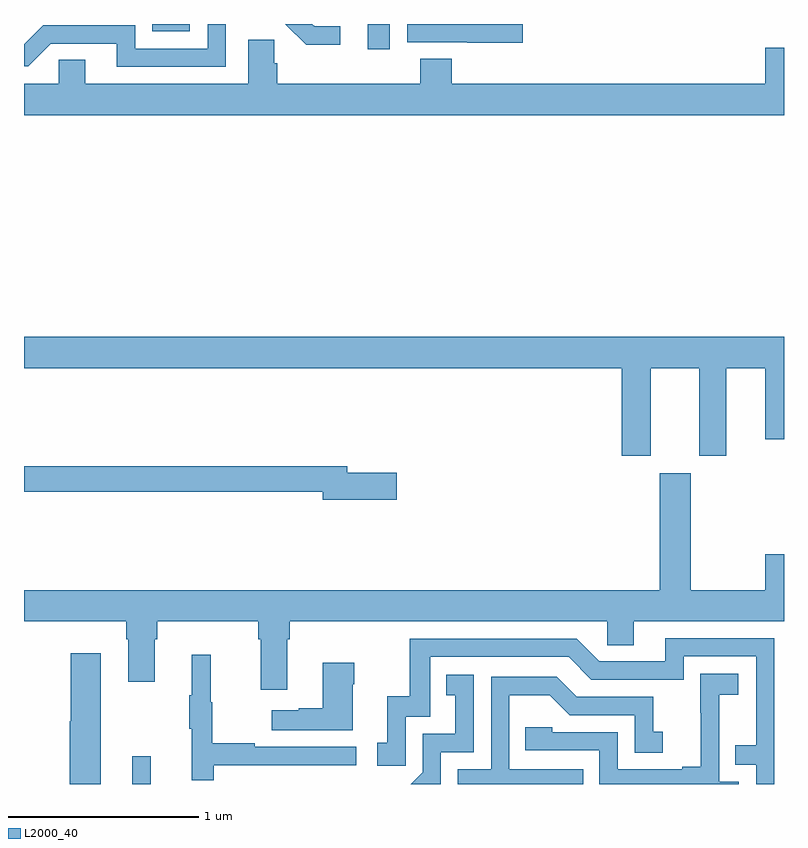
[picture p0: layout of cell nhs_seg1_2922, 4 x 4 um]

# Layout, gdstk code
import gdstk
lib = gdstk.Library(unit=1e-6, precision=1e-09)
def R(c, l, rs):  # rectangles x0, y0, x1, y1
    for r in rs: c.add(gdstk.rectangle(r[:2], r[2:], *l))
def P(c, l, *ps):  # polygons
    for p in ps: c.add(gdstk.Polygon(p, *l))
L2000_40 = (2000, 40)

nhs_seg1_2922 = lib.new_cell('nhs_seg1_2922')
R(nhs_seg1_2922, L2000_40, [(269.57,560.199,269.667,560.344), (270.809,564.066,270.924,564.199), (269.674,564.161,269.872,564.199)])
P(nhs_seg1_2922, L2000_40, [(270.063,564.199),(269.967,564.199),(269.967,564.069),(269.586,564.069),(269.586,564.192),(269.1,564.192),(269,564.092),(269,563.976),(269.022,563.976),(269.142,564.096),(269.489,564.096),(269.489,563.973),(270.063,563.973)],
  [(270.664,564.186),(270.529,564.186),(270.516,564.199),(270.374,564.199),(270.485,564.089),(270.664,564.089)],
  [(271.625,564.199),(271.509,564.199),(271.509,564.198),(271.113,564.198),(271.113,564.199),(271.017,564.199),(271.017,564.102),(271.333,564.102),(271.333,564.101),(271.625,564.101)],
  [(273,564.073),(272.9,564.073),(272.9,563.884),(271.25,563.884),(271.25,564.017),(271.085,564.017),(271.085,563.884),(270.332,563.884),(270.332,563.993),(270.318,563.993),(270.318,564.116),(270.179,564.116),(270.179,563.884),(269.323,563.884),(269.323,564.011),(269.184,564.011),(269.184,563.884),(269,563.884),(269,563.72),(273,563.72)],
  [(272.299,562.388),(272.555,562.388),(272.555,561.927),(272.695,561.927),(272.695,562.388),(272.9,562.388),(272.9,562.014),(273,562.014),(273,562.552),(269,562.552),(269,562.388),(272.147,562.388),(272.147,561.927),(272.299,561.927)],
  [(270.961,561.836),(270.7,561.836),(270.7,561.872),(269,561.872),(269,561.736),(270.572,561.736),(270.572,561.694),(270.961,561.694)],
  [(270.385,560.96),(270.398,560.96),(270.398,561.056),(272.07,561.056),(272.07,560.929),(272.209,560.929),(272.209,561.056),(273,561.056),(273,561.409),(272.9,561.409),(272.9,561.22),(272.509,561.22),(272.509,561.835),(272.345,561.835),(272.345,561.22),(269,561.22),(269,561.056),(269.537,561.056),(269.537,560.96),(269.549,560.96),(269.549,560.736),(269.689,560.736),(269.689,560.96),(269.702,560.96),(269.702,561.056),(270.233,561.056),(270.233,560.96),(270.245,560.96),(270.245,560.694),(270.385,560.694)],
  [(272.949,560.967),(272.375,560.967),(272.375,560.844),(272.028,560.844),(271.908,560.964),(271.029,560.964),(271.029,560.662),(270.911,560.662),(270.911,560.415),(270.858,560.415),(270.858,560.295),(271.008,560.295),(271.008,560.553),(271.137,560.553),(271.137,560.868),(271.866,560.868),(271.986,560.748),(272.472,560.748),(272.472,560.871),(272.853,560.871),(272.853,560.402),(272.743,560.402),(272.743,560.301),(272.853,560.301),(272.853,560.199),(272.949,560.199)],
  [(269.404,560.887),(269.246,560.887),(269.246,560.529),(269.24,560.529),(269.24,560.199),(269.404,560.199)],
  [(269.999,560.298),(270.748,560.298),(270.748,560.394),(270.215,560.394),(270.215,560.414),(269.992,560.414),(269.992,560.628),(269.984,560.628),(269.984,560.878),(269.882,560.878),(269.882,560.665),(269.871,560.665),(269.871,560.491),(269.882,560.491),(269.882,560.22),(269.999,560.22)],
  [(270.73,560.723),(270.738,560.723),(270.738,560.836),(270.572,560.836),(270.572,560.597),(270.446,560.597),(270.446,560.587),(270.303,560.587),(270.303,560.483),(270.73,560.483)],
  [(272.763,560.211),(272.658,560.211),(272.658,560.441),(272.66,560.441),(272.66,560.669),(272.758,560.669),(272.758,560.779),(272.56,560.779),(272.56,560.573),(272.561,560.573),(272.561,560.29),(272.465,560.29),(272.465,560.277),(272.124,560.277),(272.124,560.472),(271.779,560.472),(271.779,560.499),(271.639,560.499),(271.639,560.376),(272.028,560.376),(272.028,560.199),(272.763,560.199)],
  [(271.194,560.367),(271.368,560.367),(271.368,560.773),(271.222,560.773),(271.222,560.667),(271.271,560.667),(271.271,560.463),(271.098,560.463),(271.098,560.262),(271.035,560.199),(271.194,560.199)],
  [(271.943,560.277),(271.554,560.277),(271.554,560.666),(271.768,560.666),(271.872,560.562),(272.214,560.562),(272.214,560.364),(272.362,560.364),(272.362,560.473),(272.313,560.473),(272.313,560.658),(271.909,560.658),(271.804,560.763),(271.458,560.763),(271.458,560.277),(271.284,560.277),(271.284,560.199),(271.943,560.199)])

lib.write_gds('nhs_seg1_2922.gds')
